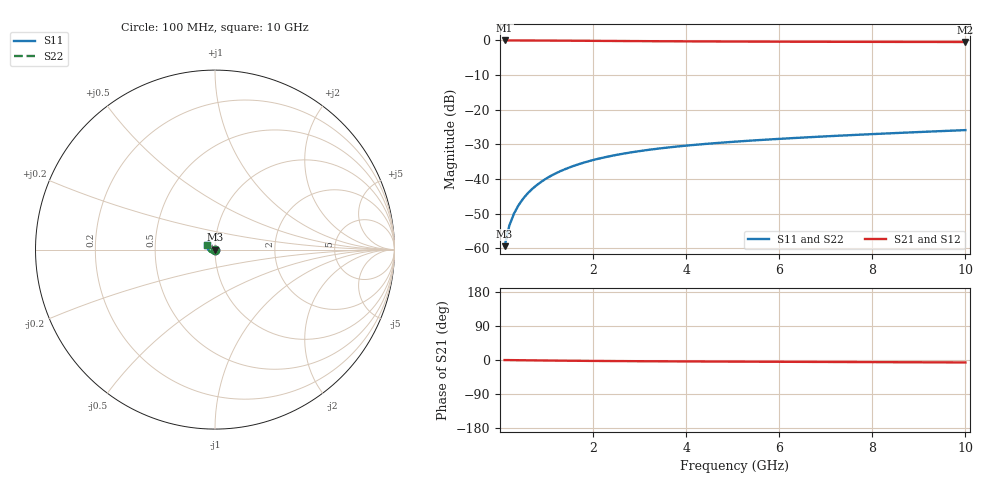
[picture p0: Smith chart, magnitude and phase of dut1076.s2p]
! Touchstone file exported from HFSS 2024.1.0
!  File:  C:/UserFiles/LocalFiles/RDL_TSV_Batchsim/temp_TSV1_1076_1780064941.aedt
!  Generated:  10:35:22 PM May 29, 2026
!  Design:  TSV1
!  Project:  temp_TSV1_1076_1780064941
!  Setup:  Setup1
!  Solution:  Sweep
! Variables:
!  dtsv = 8.02um
!  hbump = 3um
!  htsv = 98.84um
!  lrdl = 252.1521522um
!  p = 40
!  p1 = 58.77um
!  t = 500um
!  trdl = 3um
!  wrdl = 24.89489489um
# GHz S MA R 50.000000
! Terminal data exported
! Port[1] = TSV22_T1
! Port[2] = TSV22_T2
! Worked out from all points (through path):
!   100 points, 100 MHz to 10 GHz, reference 50 ohm
!   highest |S21| = 0.00 dB at 100 MHz (marker M1); lowest = -0.4 dB at 10 GHz (marker M2)
!   lowest |S11| = -59.3 dB at 100 MHz (marker M3), VSWR 1.00, Z = 50 - j0.106 ohm
!   |S11| at or under -10 dB: start of sweep to end of sweep
!   |S22| runs from -59.3 to -25.9 dB; largest |S21 - S12| = 3.3e-15
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0.1  0.00108 -78.5  0.9997 -0.1  0.9997 -0.1  0.00108 -78.5
! Gamma 0 0 0 0
! Port Impedance 50 0 50 0
0.2  0.002123 -87.3  0.9996 -0.3  0.9996 -0.3  0.002123 -87.3
0.3  0.003173 -91.8  0.9993 -0.4  0.9993 -0.4  0.003173 -91.8
0.4  0.004218 -95.2  0.999 -0.6  0.999 -0.6  0.004218 -95.2
0.5  0.005256 -98.1  0.9987 -0.7  0.9987 -0.7  0.005256 -98.1
0.6  0.006283 -100.8  0.9982 -0.8  0.9982 -0.8  0.006283 -100.8
0.7  0.007298 -103.3  0.9977 -1.0  0.9977 -1.0  0.007298 -103.3
0.8  0.008299 -105.7  0.9972 -1.1  0.9972 -1.1  0.008299 -105.7
0.9  0.009285 -108.0  0.9965 -1.2  0.9965 -1.2  0.009285 -108.0
1.1  0.0112 -112.5  0.9951 -1.5  0.9951 -1.5  0.0112 -112.5
1.4  0.01394 -118.9  0.9926 -1.8  0.9926 -1.8  0.01394 -118.9
1.6  0.01566 -122.9  0.9909 -2.0  0.9909 -2.0  0.01566 -122.9
1.8  0.01729 -126.8  0.989 -2.2  0.989 -2.2  0.01729 -126.8
2.1  0.01958 -132.4  0.9861 -2.5  0.9861 -2.5  0.01958 -132.4
2.5  0.02235 -139.3  0.9823 -2.8  0.9823 -2.8  0.02235 -139.3
2.9  0.02481 -145.8  0.9787 -3.1  0.9787 -3.1  0.02481 -145.8
3.4  0.02755 -153.1  0.9745 -3.4  0.9745 -3.4  0.02755 -153.1
4.2  0.03129 -163.5  0.9688 -3.9  0.9688 -3.9  0.03129 -163.5
5.1  0.03488 -173.5  0.9638 -4.3  0.9638 -4.3  0.03488 -173.5
6.7  0.04042 172.0  0.9574 -5.0  0.9574 -5.0  0.04042 172.0
8.4  0.04588 159.9  0.9529 -5.8  0.9529 -5.8  0.04588 159.9
10  0.05094 150.7  0.95 -6.5  0.95 -6.5  0.05094 150.7
